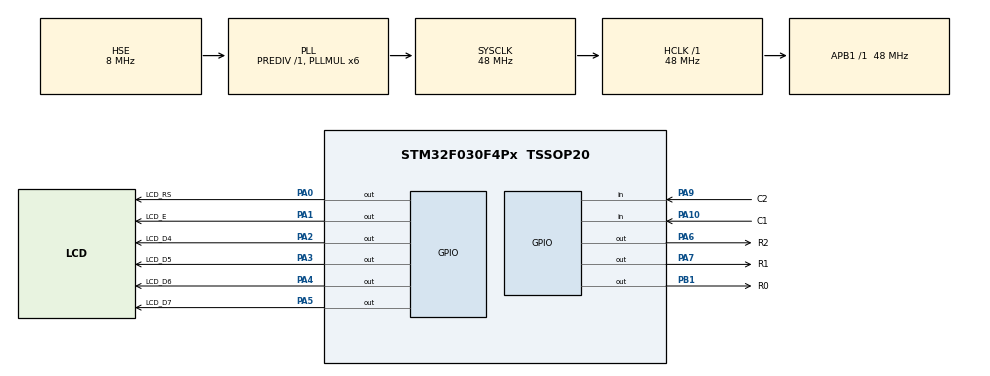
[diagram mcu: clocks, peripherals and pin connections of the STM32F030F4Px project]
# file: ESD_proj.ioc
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Mcu.Family=STM32F0
Mcu.Name=STM32F030F4Px
Mcu.Package=TSSOP20
NVIC.TIM3_IRQn=true\:0\:0\:false\:false\:true\:true\:true\:true
PA0.GPIO_Label=LCD_RS
PA0.Signal=GPIO_Output
PA1.GPIO_Label=LCD_E
PA1.Signal=GPIO_Output
PA10.GPIO_Label=C1
PA10.GPIO_PuPd=GPIO_PULLUP
PA10.Signal=GPIO_Input
PA13.Mode=Serial_Wire
PA13.Signal=SYS_SWDIO
PA14.Mode=Serial_Wire
PA14.Signal=SYS_SWCLK
PA2.GPIO_Label=LCD_D4
PA2.Signal=GPIO_Output
PA3.GPIO_Label=LCD_D5
PA3.Signal=GPIO_Output
PA4.GPIO_Label=LCD_D6
PA4.Signal=GPIO_Output
PA5.GPIO_Label=LCD_D7
PA5.Signal=GPIO_Output
PA6.GPIO_Label=R2
PA6.Signal=GPIO_Output
PA7.GPIO_Label=R1
PA7.Signal=GPIO_Output
PA9.GPIO_Label=C2
PA9.GPIO_PuPd=GPIO_PULLUP
PA9.Signal=GPIO_Input
PB1.GPIO_Label=R0
PB1.Signal=GPIO_Output
PF0-OSC_IN.Mode=HSE-External-Oscillator
PF0-OSC_IN.Signal=RCC_OSC_IN
PF1-OSC_OUT.Mode=HSE-External-Oscillator
PF1-OSC_OUT.Signal=RCC_OSC_OUT
ProjectManager.HeapSize=0x200
ProjectManager.StackSize=0x400
ProjectManager.TargetToolchain=STM32CubeIDE
RCC.AHBFreq_Value=48000000
RCC.APB1Freq_Value=48000000
RCC.APB1TimFreq_Value=48000000
RCC.EnbaleCSS=true
RCC.HCLKFreq_Value=48000000
RCC.PLLMUL=RCC_PLL_MUL6
RCC.PLLSourceVirtual=RCC_PLLSOURCE_HSE
RCC.SYSCLKFreq_VALUE=48000000
RCC.SYSCLKSource=RCC_SYSCLKSOURCE_PLLCLK
TIM3.Period=5000
TIM3.Prescaler=6399
VP_TIM3_VS_ClockSourceINT.Mode=Internal
board=custom

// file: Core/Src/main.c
/* USER CODE BEGIN Header */
/**
  ******************************************************************************
  * @file           : main.c
  * @brief          : Main program body
  ******************************************************************************
  * @attention
  *
  * Copyright (c) 2024 STMicroelectronics.
  * All rights reserved.
  *
  * This software is licensed under terms that can be found in the LICENSE file
  * in the root directory of this software component.
  * If no LICENSE file comes with this software, it is provided AS-IS.
  *
  ******************************************************************************
  */
/* USER CODE END Header */
#include "main.h"

/* USER CODE BEGIN Includes */
#include "lcd.h"
#include "stdlib.h"
#include "string.h"
#include <stdbool.h>
/* USER CODE END Includes */

TIM_HandleTypeDef htim3;

void SystemClock_Config(void);
static void MX_GPIO_Init(void);
static void MX_TIM3_Init(void);

/* USER CODE BEGIN 0 */
const uint8_t key_code [8][2] =
{
		{1,2},
		{5,6},
		{9,10},
		{13,14},
		{3,4},
		{7,8},
		{11,12},
		{15,16},
};
uint8_t key_current=0;
uint8_t key_prev=0;

void selectRow(uint8_t row)
{
	switch (row){
	case 0:
		HAL_GPIO_WritePin(GPIOB, GPIO_PIN_1, RESET);
		HAL_GPIO_WritePin(GPIOA, GPIO_PIN_7, RESET);
		HAL_GPIO_WritePin(GPIOA, GPIO_PIN_6, RESET);
	break;
	case 1:
		HAL_GPIO_WritePin(GPIOB, GPIO_PIN_1, RESET);
		HAL_GPIO_WritePin(GPIOA, GPIO_PIN_7, SET);
		HAL_GPIO_WritePin(GPIOA, GPIO_PIN_6, RESET);
		break;
	case 2:
		HAL_GPIO_WritePin(GPIOB, GPIO_PIN_1, RESET);
		HAL_GPIO_WritePin(GPIOA, GPIO_PIN_7, RESET);
		HAL_GPIO_WritePin(GPIOA, GPIO_PIN_6, SET);
		break;
	case 3:
		HAL_GPIO_WritePin(GPIOB, GPIO_PIN_1, RESET);
		HAL_GPIO_WritePin(GPIOA, GPIO_PIN_7, SET);
		HAL_GPIO_WritePin(GPIOA, GPIO_PIN_6, SET);
		break;
	case 4:
		HAL_GPIO_WritePin(GPIOB, GPIO_PIN_1, SET);
		HAL_GPIO_WritePin(GPIOA, GPIO_PIN_7, RESET);
		HAL_GPIO_WritePin(GPIOA, GPIO_PIN_6, RESET);
		break;
	case 5:
		HAL_GPIO_WritePin(GPIOB, GPIO_PIN_1, SET);
		HAL_GPIO_WritePin(GPIOA, GPIO_PIN_7, SET);
		HAL_GPIO_WritePin(GPIOA, GPIO_PIN_6, RESET);
		break;
	case 6:
		HAL_GPIO_WritePin(GPIOB, GPIO_PIN_1, SET);
		HAL_GPIO_WritePin(GPIOA, GPIO_PIN_7, RESET);
		HAL_GPIO_WritePin(GPIOA, GPIO_PIN_6, SET);
		break;
	case 7:
		HAL_GPIO_WritePin(GPIOB, GPIO_PIN_1, SET);
		HAL_GPIO_WritePin(GPIOA, GPIO_PIN_7, SET);
		HAL_GPIO_WritePin(GPIOA, GPIO_PIN_6, SET);
		break;
	}
};

uint8_t row;
uint8_t col;
uint8_t Keypad_Getkey()
{
	for (row=0 ; row<8 ; row ++)
	{
		selectRow(row);
		HAL_Delay(2);
			if (HAL_GPIO_ReadPin(GPIOA, GPIO_PIN_10) == 0)
			{
				HAL_Delay(50);
				if (HAL_GPIO_ReadPin(GPIOA, GPIO_PIN_10) == 0){
					return key_code[row][0];
				}
			}
			else if (HAL_GPIO_ReadPin(GPIOA, GPIO_PIN_9) == 0)
			{
				HAL_Delay(50);
				if (HAL_GPIO_ReadPin(GPIOA, GPIO_PIN_9) == 0){
					return key_code[row][1];
				}
			}
	}
	return 0;
}

const char keypad_layout[2][16]= {"789+456-123xs0=:", "g<>+def-abcxSc=:"};
bool splash = false;

int64_t Result(char * string){
	int64_t temp_var[10] = {0,0,0,0,0,0,0,0,0,0};
	uint8_t num = 0;
	uint8_t tmp[19] = {0,0,0,0,0,0,0,0,0,0,0,0,0,0,0,0,0,0,0};
	uint8_t num_cnt = 0;
	uint8_t equaltion[9] = {0,0,0,0,0,0,0,0,0};
	for(uint8_t i = 0; i < strlen(string); i++){
		int tempk = string[i]-'0';
		if (tempk < 10 && tempk >= 0){
			tmp[num_cnt] = tempk;
			num_cnt ++;
		}
		else {
			if (string[i] == '+'){
				equaltion[num] = 1;
			}
			else if (string[i] == '-') {
				equaltion[num] = 2;
			}
			else if (string[i] == 'x') {
				equaltion[num] = 3;
			}
			else if (string[i] == ':') {
				equaltion[num] = 4;
			}
			for(uint8_t j = 0; j < num_cnt; j++){
				uint64_t tempkk = tmp[j];
				for(uint8_t k =0; k < num_cnt-j-1; k++){
					tempkk = tempkk*10;
				}
				temp_var[num] = temp_var[num] + tempkk;
				tmp[j] = 0;
			}
			num_cnt = 0;
			num ++;
		}
	}
	for(uint8_t i = 0; i < 10; i++){
		if (equaltion[i] == 3) {
			temp_var[i+1] = temp_var[i] * temp_var[i+1];
			temp_var[i] = 0;
			if (i>0){
				equaltion[i] = equaltion[i-1];
			}
			else equaltion[i] = 1;
		}
		else if (equaltion[i] == 4) {
			temp_var[i+1] = temp_var[i] / temp_var[i+1];
			temp_var[i] = 0;
			if (i>0){
				equaltion[i] = equaltion[i-1];
			}
			else equaltion[i] = 1;
		}
	}
	for(uint8_t i = 0; i < 10; i++){
		if (equaltion[i] == 1) {
			temp_var[i+1] = temp_var[i] + temp_var[i+1];
		}
		else if (equaltion[i] == 2) {
			temp_var[i+1] = temp_var[i] - temp_var[i+1];
		}
		else if (equaltion[i] == 0) {
			return temp_var[i];
		}
	}
}

// A utility function to reverse a string
void reverse(char str[], int length)
{
    int start = 0;
    int end = length - 1;
    while (start < end) {
        char temp = str[start];
        str[start] = str[end];
        str[end] = temp;
        end--;
        start++;
    }
}
// Implementation of citoa()
char* citoa(int64_t num, char* str, int base)
{
    int i = 0;
    bool isNegative = false;

    /* Handle 0 explicitly, otherwise empty string is
     * printed for 0 */
    if (num == 0) {
        str[i++] = '0';
        str[i] = '\0';
        return str;
    }

    // In standard itoa(), negative numbers are handled
    // only with base 10. Otherwise numbers are
    // considered unsigned.
    if (num < 0 && base == 10) {
        isNegative = true;
        num = -num;
    }

    // Process individual digits
    while (num != 0) {
        int rem = num % base;
        str[i++] = (rem > 9) ? (rem - 10) + 'a' : rem + '0';
        num = num / base;
    }

    // If number is negative, append '-'
    if (isNegative)
        str[i++] = '-';

    str[i] = '\0'; // Append string terminator

    // Reverse the string
    reverse(str, i);

    return str;
}
/* USER CODE END 0 */

int main(void)
{

  /* MCU Configuration--------------------------------------------------------*/

  /* Reset of all peripherals, Initializes the Flash interface and the Systick. */
  HAL_Init();

  /* Configure the system clock */
  SystemClock_Config();

  /* Initialize all configured peripherals */
  MX_GPIO_Init();
  MX_TIM3_Init();
  /* USER CODE BEGIN 2 */
  Lcd_PortType ports[] = { GPIOA, GPIOA, GPIOA, GPIOA };
  Lcd_PinType pins[] = {LCD_D4_Pin, LCD_D5_Pin, LCD_D6_Pin, LCD_D7_Pin};
  Lcd_HandleTypeDef lcd;
  lcd = Lcd_create(ports, pins, GPIOA, LCD_RS_Pin, GPIOA, LCD_E_Pin, LCD_4_BIT_MODE);

  Lcd_cursor(&lcd, 0, 0);
  Lcd_string(&lcd, "BTL ESD NHOM 18");
  HAL_Delay(1500);
  Lcd_clear(&lcd);

  HAL_TIM_Base_Start_IT(&htim3);
  HAL_TIM_Base_Start(&htim3);

  /* USER CODE END 2 */

  /* Infinite loop */
  /* USER CODE BEGIN WHILE */
  uint8_t cursor_cnt = 0;
  uint8_t splash_cnt = 0;
  uint8_t cursor_max = 0;
  uint8_t lcd_zero = 0;
  uint8_t current_layout = 0;
  char s;
  char *lcd_buffer=(char*) malloc(200+1);
  memset(lcd_buffer,0,strlen(lcd_buffer));
  while (1)
  {
    /* USER CODE END WHILE */

    /* USER CODE BEGIN 3 */
	  key_current = Keypad_Getkey();
	  if(key_current != 0 && key_current != key_prev) {
		  s = keypad_layout[current_layout][key_current-1];

		  if (s == keypad_layout[0][12]) {
			  current_layout = 1;
		  }
		  else if (s == keypad_layout[1][12]) {
			  current_layout = 0;
		  }
		  else if (s == keypad_layout[1][13]) {
			  Lcd_clear(&lcd);
			  cursor_cnt = 0;
			  memset(lcd_buffer,0,strlen(lcd_buffer));
		  }
		  else if (s == keypad_layout[0][14]) {
			  char snum[19];
			  lcd_buffer[cursor_max] = s;
			  citoa(Result(lcd_buffer), snum, 10);
			  Lcd_cursor(&lcd, 1, 0);
			  Lcd_string(&lcd, snum);
		  }
		  else if (s == '<') {
			  cursor_cnt --;
		  }
		  else if (s == '>') {
			  if (cursor_cnt < cursor_max) {
				  cursor_cnt ++;
			  }
		  }
		  else {
			  lcd_buffer[cursor_cnt] = s;

			  cursor_cnt ++;
			  cursor_max = cursor_cnt;
		  }
		  // print lcd
		  if (cursor_cnt>15){
			  lcd_zero = cursor_cnt-15;
		  }
		  else {
			  lcd_zero = 0;
		  }
		  char subbuff[16];
		  memcpy( subbuff, &lcd_buffer[lcd_zero], 15 );
		  subbuff[15] = '\0';
		  Lcd_cursor(&lcd, 0, 0);
		  Lcd_string(&lcd, subbuff);

		  if (cursor_cnt>15){
			  	  splash_cnt = 15;
			 }
		  else splash_cnt = cursor_cnt;

	  }
	  if (splash){
		  Lcd_cursor(&lcd, 0, splash_cnt);
		  Lcd_string(&lcd, " ");
	  }
	  else {
		  Lcd_cursor(&lcd, 0, splash_cnt);
		  Lcd_string(&lcd, "_");

	  }
	  key_prev = key_current;
  }
  /* USER CODE END 3 */
}

void SystemClock_Config(void)
{
  RCC_OscInitTypeDef RCC_OscInitStruct = {0};
  RCC_ClkInitTypeDef RCC_ClkInitStruct = {0};

  /** Initializes the RCC Oscillators according to the specified parameters
  * in the RCC_OscInitTypeDef structure.
  */
  RCC_OscInitStruct.OscillatorType = RCC_OSCILLATORTYPE_HSE;
  RCC_OscInitStruct.HSEState = RCC_HSE_ON;
  RCC_OscInitStruct.PLL.PLLState = RCC_PLL_ON;
  RCC_OscInitStruct.PLL.PLLSource = RCC_PLLSOURCE_HSE;
  RCC_OscInitStruct.PLL.PLLMUL = RCC_PLL_MUL6;
  RCC_OscInitStruct.PLL.PREDIV = RCC_PREDIV_DIV1;
  if (HAL_RCC_OscConfig(&RCC_OscInitStruct) != HAL_OK)
  {
    Error_Handler();
  }

  /** Initializes the CPU, AHB and APB buses clocks
  */
  RCC_ClkInitStruct.ClockType = RCC_CLOCKTYPE_HCLK|RCC_CLOCKTYPE_SYSCLK
                              |RCC_CLOCKTYPE_PCLK1;
  RCC_ClkInitStruct.SYSCLKSource = RCC_SYSCLKSOURCE_PLLCLK;
  RCC_ClkInitStruct.AHBCLKDivider = RCC_SYSCLK_DIV1;
  RCC_ClkInitStruct.APB1CLKDivider = RCC_HCLK_DIV1;

  if (HAL_RCC_ClockConfig(&RCC_ClkInitStruct, FLASH_LATENCY_1) != HAL_OK)
  {
    Error_Handler();
  }

  /** Enables the Clock Security System
  */
  HAL_RCC_EnableCSS();
}

static void MX_TIM3_Init(void)
{

  TIM_ClockConfigTypeDef sClockSourceConfig = {0};
  TIM_MasterConfigTypeDef sMasterConfig = {0};

  htim3.Instance = TIM3;
  htim3.Init.Prescaler = 6399;
  htim3.Init.CounterMode = TIM_COUNTERMODE_UP;
  htim3.Init.Period = 5000;
  htim3.Init.ClockDivision = TIM_CLOCKDIVISION_DIV1;
  htim3.Init.AutoReloadPreload = TIM_AUTORELOAD_PRELOAD_DISABLE;
  if (HAL_TIM_Base_Init(&htim3) != HAL_OK)
  {
    Error_Handler();
  }
  sClockSourceConfig.ClockSource = TIM_CLOCKSOURCE_INTERNAL;
  if (HAL_TIM_ConfigClockSource(&htim3, &sClockSourceConfig) != HAL_OK)
  {
    Error_Handler();
  }
  sMasterConfig.MasterOutputTrigger = TIM_TRGO_RESET;
  sMasterConfig.MasterSlaveMode = TIM_MASTERSLAVEMODE_DISABLE;
  if (HAL_TIMEx_MasterConfigSynchronization(&htim3, &sMasterConfig) != HAL_OK)
  {
    Error_Handler();
  }

}

static void MX_GPIO_Init(void)
{
  GPIO_InitTypeDef GPIO_InitStruct = {0};

  /* GPIO Ports Clock Enable */
  __HAL_RCC_GPIOF_CLK_ENABLE();
  __HAL_RCC_GPIOA_CLK_ENABLE();
  __HAL_RCC_GPIOB_CLK_ENABLE();

  /*Configure GPIO pin Output Level */
  HAL_GPIO_WritePin(GPIOA, LCD_RS_Pin|LCD_E_Pin|LCD_D4_Pin|LCD_D5_Pin
                          |LCD_D6_Pin|LCD_D7_Pin|R2_Pin|R1_Pin, GPIO_PIN_RESET);

  /*Configure GPIO pin Output Level */
  HAL_GPIO_WritePin(R0_GPIO_Port, R0_Pin, GPIO_PIN_RESET);

  /*Configure GPIO pins : LCD_RS_Pin LCD_E_Pin LCD_D4_Pin LCD_D5_Pin
                           LCD_D6_Pin LCD_D7_Pin R2_Pin R1_Pin */
  GPIO_InitStruct.Pin = LCD_RS_Pin|LCD_E_Pin|LCD_D4_Pin|LCD_D5_Pin
                          |LCD_D6_Pin|LCD_D7_Pin|R2_Pin|R1_Pin;
  GPIO_InitStruct.Mode = GPIO_MODE_OUTPUT_PP;
  GPIO_InitStruct.Pull = GPIO_NOPULL;
  GPIO_InitStruct.Speed = GPIO_SPEED_FREQ_LOW;
  HAL_GPIO_Init(GPIOA, &GPIO_InitStruct);

  /*Configure GPIO pin : R0_Pin */
  GPIO_InitStruct.Pin = R0_Pin;
  GPIO_InitStruct.Mode = GPIO_MODE_OUTPUT_PP;
  GPIO_InitStruct.Pull = GPIO_NOPULL;
  GPIO_InitStruct.Speed = GPIO_SPEED_FREQ_LOW;
  HAL_GPIO_Init(R0_GPIO_Port, &GPIO_InitStruct);

  /*Configure GPIO pins : C2_Pin C1_Pin */
  GPIO_InitStruct.Pin = C2_Pin|C1_Pin;
  GPIO_InitStruct.Mode = GPIO_MODE_INPUT;
  GPIO_InitStruct.Pull = GPIO_PULLUP;
  HAL_GPIO_Init(GPIOA, &GPIO_InitStruct);

}

/* USER CODE BEGIN 4 */
void HAL_TIM_PeriodElapsedCallback(TIM_HandleTypeDef* htim)
{
	if (htim == &htim3){
		splash = !splash;
	}
}

/* USER CODE END 4 */

void Error_Handler(void)
{
  __disable_irq();
  while (1)
  {
  }
}
